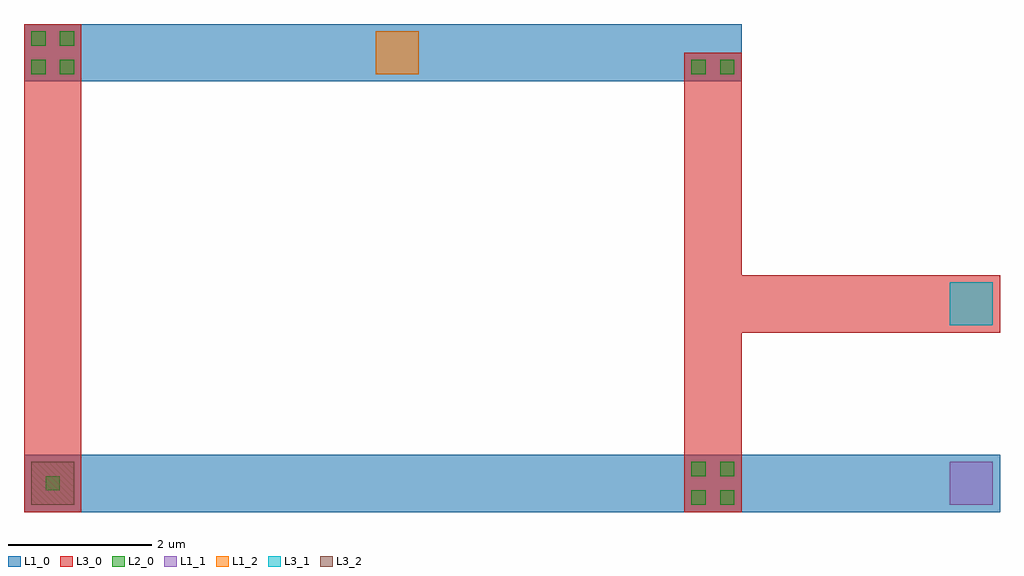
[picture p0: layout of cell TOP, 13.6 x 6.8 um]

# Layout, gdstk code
from math import pi, radians
import gdstk
lib = gdstk.Library(unit=1e-6, precision=1e-09)
def R(c, l, rs):  # rectangles x0, y0, x1, y1
    for r in rs: c.add(gdstk.rectangle(r[:2], r[2:], *l))
L1_0 = (1, 0)
L1_1 = (1, 1)
L1_2 = (1, 2)
L2_0 = (2, 0)
L3_0 = (3, 0)
L3_1 = (3, 1)
L3_2 = (3, 2)

via = lib.new_cell('VIA')
R(via, L2_0, [(-0.1,-0.1,0.1,0.1)])

top = lib.new_cell('TOP')
R(top, L1_0, [(0,-6,13.6,-5.2), (0,0,10,0.8)])
R(top, L1_1, [(12.9,-5.9,13.5,-5.3)])
R(top, L1_2, [(4.9,0.1,5.5,0.7)])
R(top, L3_0, [(0,-6,0.8,0.8), (9.2,-6,10,0.4), (10,-3.5,13.6,-2.7)])
R(top, L3_1, [(12.9,-3.4,13.5,-2.8)])
R(top, L3_2, [(0.1,-5.9,0.7,-5.3)])
r = gdstk.Reference(via, (0.6,0.2), rotation=pi/2); r.repetition = gdstk.Repetition(2, 2, v1=(0,0.4), v2=(-0.4,0)); top.add(r)
r = gdstk.Reference(via, (9.8,0.2), rotation=pi/2); r.repetition = gdstk.Repetition(1, 2, v1=(0,0), v2=(-0.4,0)); top.add(r)
r = gdstk.Reference(via, (0.4,-5.6), rotation=pi/2); r.repetition = gdstk.Repetition(1, 1, v1=(0,0), v2=(0,0)); top.add(r)
r = gdstk.Reference(via, (9.8,-5.8), rotation=pi/2); r.repetition = gdstk.Repetition(2, 2, v1=(0,0.4), v2=(-0.4,0)); top.add(r)

lib.write_gds('TOP.gds')
